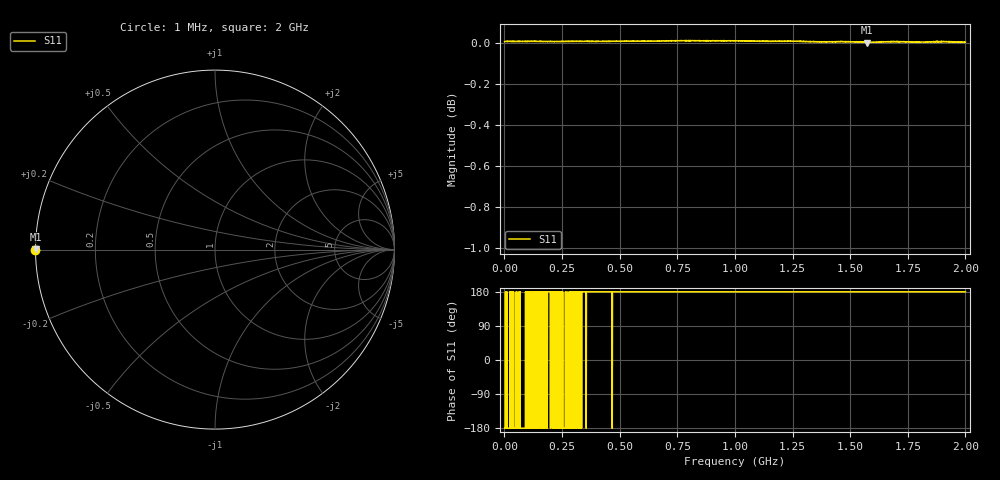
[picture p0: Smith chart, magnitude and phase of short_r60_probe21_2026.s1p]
! Created with skrf 1.12.0 (http://scikit-rf.org).
# Hz S RI R 50.0
!freq ReS11 ImS11
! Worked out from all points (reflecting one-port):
!   2000 points, 1 MHz to 2 GHz, reference 50 ohm
!   lowest |S11| = 0.0 dB at 1.574 GHz (marker M1)
!   phase of S11 starts at -180 deg and turns -0 deg over the sweep
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1000000  -1 -1.45e-05
1.5e7  -1.001 -1.19e-05
1.2e8  -1.001 -2.36e-05
1.7e8  -1.001 -4.05e-05
2.51e8  -1.001 -1.45e-05
4.05e8  -1.001 0.000145
5.01e8  -1.001 0.000158
6.14e8  -1.001 0.000261
7.51e8  -1.001 0.000466
8.79e8  -1.001 0.000167
1.001e9  -1.001 0.000496
1.109e9  -1.001 0.000392
1.251e9  -1.001 0.000933
1.322e9  -1.001 0.000961
1.411e9  -1.001 0.00133
1.457e9  -1.001 0.00117
1.501e9  -1 0.00112
1.574e9  -1 0.00116
1.606e9  -1 0.00119
1.681e9  -1 0.000796
1.703e9  -1.001 0.000721
1.751e9  -1 0.000698
1.811e9  -1 0.000702
1.842e9  -1 0.000949
1.87e9  -1 0.000871
1.907e9  -1.001 0.000519
1.979e9  -1 0.000671
2e9  -1 0.000628
